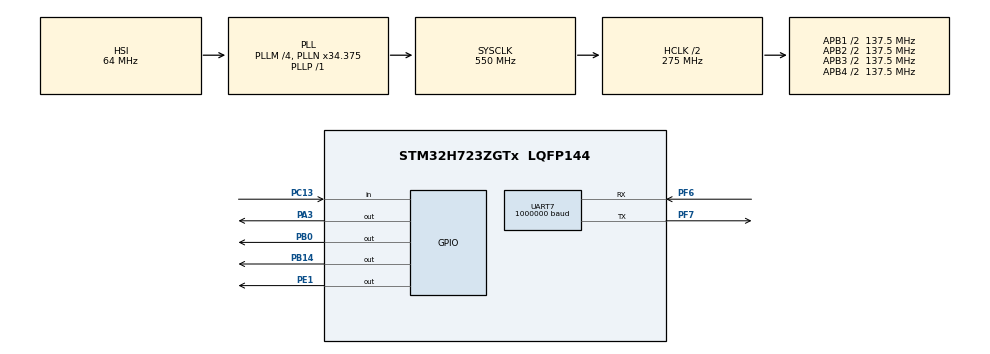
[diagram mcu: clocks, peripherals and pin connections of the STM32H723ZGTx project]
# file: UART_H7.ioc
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CORTEX_M7.default_mode_Activation=1
Mcu.Family=STM32H7
Mcu.Name=STM32H723ZGTx
Mcu.Package=LQFP144
NUCLEO-H723ZG.BUTTON=1
NUCLEO-H723ZG.LD1=true
NUCLEO-H723ZG.LD2=true
NUCLEO-H723ZG.LD3=true
NUCLEO-H723ZG.VCP=true
NVIC.EXTI15_10_IRQn=true\:0\:0\:false\:false\:true\:false\:true\:true
NVIC.PriorityGroup=NVIC_PRIORITYGROUP_4
PA13(JTMS/SWDIO).GPIO_Label=SWDIO
PA13(JTMS/SWDIO).Signal=DEBUG_JTMS-SWDIO
PA14(JTCK/SWCLK).GPIO_Label=SWCLK
PA14(JTCK/SWCLK).Signal=DEBUG_JTCK-SWCLK
PA3.Signal=GPIO_Output
PB0.Signal=GPIO_Output
PB14.Signal=GPIO_Output
PC13.Signal=GPIO_Input
PC14-OSC32_IN.Signal=RCC_OSC32_IN
PC15-OSC32_OUT.Signal=RCC_OSC32_OUT
PD8.Signal=USART3_TX
PD9.Signal=USART3_RX
PE1.Signal=GPIO_Output
PF6.Mode=Asynchronous
PF6.Signal=UART7_RX
PF7.Mode=Asynchronous
PF7.Signal=UART7_TX
ProjectManager.HeapSize=0x200
ProjectManager.StackSize=0x400
ProjectManager.TargetToolchain=STM32CubeIDE
RCC.ADCFreq_Value=608000000
RCC.APB1Freq_Value=137500000
RCC.APB2Freq_Value=137500000
RCC.APB3Freq_Value=137500000
RCC.APB4Freq_Value=137500000
RCC.CortexFreq_Value=550000000
RCC.D1PPRE=RCC_APB3_DIV2
RCC.D2PPRE1=RCC_APB1_DIV2
RCC.D2PPRE2=RCC_APB2_DIV2
RCC.D3PPRE=RCC_APB4_DIV2
RCC.DIVM1=4
RCC.DIVM2=1
RCC.DIVN1=34
RCC.DIVN2=19
RCC.DIVP1=1
RCC.DIVQ1=4
RCC.HCLKFreq_Value=275000000
RCC.HPRE=RCC_HCLK_DIV2
RCC.HSE_VALUE=8000000
RCC.PLLFRACN=3072
RCC.SYSCLKFreq_VALUE=550000000
RCC.SYSCLKSource=RCC_SYSCLKSOURCE_PLLCLK
RCC.USBCLockSelection=RCC_USBCLKSOURCE_HSI48
RCC.USBFreq_Value=48000000
UART7.BaudRate=1000000
VP_MEMORYMAP_VS_MEMORYMAP.Mode=CurAppReg
VP_NUCLEO-H723ZG_VS_BSP_COMMON.Mode=COMMON
board=NUCLEO-H723ZG

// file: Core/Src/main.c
/* USER CODE BEGIN Header */
/**
  ******************************************************************************
  * @file           : main.c
  * @brief          : Main program body
  ******************************************************************************
  * @attention
  *
  * Copyright (c) 2025 STMicroelectronics.
  * All rights reserved.
  *
  * This software is licensed under terms that can be found in the LICENSE file
  * in the root directory of this software component.
  * If no LICENSE file comes with this software, it is provided AS-IS.
  *
  ******************************************************************************
  */
/* USER CODE END Header */
#include "main.h"

/* USER CODE BEGIN Includes */
#include "AX12.h"
/* USER CODE END Includes */

COM_InitTypeDef BspCOMInit;

UART_HandleTypeDef huart7;

/* USER CODE BEGIN PV */

AX12_Handle_TypeDef ax12;
uint16_t current_pos = 0;
uint8_t current_temp = 0;
int read_status = 0;

/* USER CODE END PV */

void SystemClock_Config(void);
static void MPU_Config(void);
static void MX_GPIO_Init(void);
static void MX_UART7_Init(void);

int main(void)
{

  /* MPU Configuration--------------------------------------------------------*/
  MPU_Config();

  /* MCU Configuration--------------------------------------------------------*/

  /* Reset of all peripherals, Initializes the Flash interface and the Systick. */
  HAL_Init();

  /* Configure the system clock */
  SystemClock_Config();

  /* Initialize all configured peripherals */
  MX_GPIO_Init();
  MX_UART7_Init();
  /* USER CODE BEGIN 2 */
  // 1. Initialize the library object
  HAL_Delay(1000);

  // Initialize motor handle (UART7, PA3, ID 1)
  AX12_Init(&ax12, &huart7, GPIOA, GPIO_PIN_3, 0x01);

  // Enable Torque (The motor must be enabled to move)
  AX12_TorqueEnable(&ax12, 1);
  HAL_Delay(50);

  // Set Speed (Test a value other than the max/default)
  AX12_SetMovingSpeed(&ax12, 150); // Setting to 150 (out of 1023)
  HAL_Delay(50);
  /* USER CODE END 2 */

  /* Infinite loop */
  /* USER CODE BEGIN WHILE */
  while (1)
  {
	  // --- Phase 1: Move to 0 (CCW Limit) ---
	      AX12_SetGoalPosition(&ax12, 0);
	      HAL_Delay(1000); // Wait for the motor to reach position

	      // Read and verify position
	      read_status = AX12_GetPresentPosition(&ax12, &current_pos);

	      // --- Phase 2: Move to Center (512) ---
	      AX12_SetGoalPosition(&ax12, 512);
	      HAL_Delay(1000);

	      // Read and verify position
	      read_status = AX12_GetPresentPosition(&ax12, &current_pos);

	      // --- Phase 3: Move to 1023 (CW Limit) ---
	      AX12_SetGoalPosition(&ax12, 1023);
	      HAL_Delay(1000);

	      // Read and verify position
	      read_status = AX12_GetPresentPosition(&ax12, &current_pos);

	      // --- Phase 4: Read Temperature (Test single-byte read) ---
	      AX12_GetPresentTemperature(&ax12, &current_temp);

	      HAL_Delay(1000);
    /* USER CODE END WHILE */

  }
}

void SystemClock_Config(void)
{
  RCC_OscInitTypeDef RCC_OscInitStruct = {0};
  RCC_ClkInitTypeDef RCC_ClkInitStruct = {0};

  /** Supply configuration update enable
  */
  HAL_PWREx_ConfigSupply(PWR_LDO_SUPPLY);

  /** Configure the main internal regulator output voltage
  */
  __HAL_PWR_VOLTAGESCALING_CONFIG(PWR_REGULATOR_VOLTAGE_SCALE0);

  while(!__HAL_PWR_GET_FLAG(PWR_FLAG_VOSRDY)) {}

  /** Initializes the RCC Oscillators according to the specified parameters
  * in the RCC_OscInitTypeDef structure.
  */
  RCC_OscInitStruct.OscillatorType = RCC_OSCILLATORTYPE_HSI;
  RCC_OscInitStruct.HSIState = RCC_HSI_DIV1;
  RCC_OscInitStruct.HSICalibrationValue = 64;
  RCC_OscInitStruct.PLL.PLLState = RCC_PLL_ON;
  RCC_OscInitStruct.PLL.PLLSource = RCC_PLLSOURCE_HSI;
  RCC_OscInitStruct.PLL.PLLM = 4;
  RCC_OscInitStruct.PLL.PLLN = 34;
  RCC_OscInitStruct.PLL.PLLP = 1;
  RCC_OscInitStruct.PLL.PLLQ = 4;
  RCC_OscInitStruct.PLL.PLLR = 2;
  RCC_OscInitStruct.PLL.PLLRGE = RCC_PLL1VCIRANGE_3;
  RCC_OscInitStruct.PLL.PLLVCOSEL = RCC_PLL1VCOWIDE;
  RCC_OscInitStruct.PLL.PLLFRACN = 3072;
  if (HAL_RCC_OscConfig(&RCC_OscInitStruct) != HAL_OK)
  {
    Error_Handler();
  }

  /** Initializes the CPU, AHB and APB buses clocks
  */
  RCC_ClkInitStruct.ClockType = RCC_CLOCKTYPE_HCLK|RCC_CLOCKTYPE_SYSCLK
                              |RCC_CLOCKTYPE_PCLK1|RCC_CLOCKTYPE_PCLK2
                              |RCC_CLOCKTYPE_D3PCLK1|RCC_CLOCKTYPE_D1PCLK1;
  RCC_ClkInitStruct.SYSCLKSource = RCC_SYSCLKSOURCE_PLLCLK;
  RCC_ClkInitStruct.SYSCLKDivider = RCC_SYSCLK_DIV1;
  RCC_ClkInitStruct.AHBCLKDivider = RCC_HCLK_DIV2;
  RCC_ClkInitStruct.APB3CLKDivider = RCC_APB3_DIV2;
  RCC_ClkInitStruct.APB1CLKDivider = RCC_APB1_DIV2;
  RCC_ClkInitStruct.APB2CLKDivider = RCC_APB2_DIV2;
  RCC_ClkInitStruct.APB4CLKDivider = RCC_APB4_DIV2;

  if (HAL_RCC_ClockConfig(&RCC_ClkInitStruct, FLASH_LATENCY_3) != HAL_OK)
  {
    Error_Handler();
  }
}

static void MX_UART7_Init(void)
{

  huart7.Instance = UART7;
  huart7.Init.BaudRate = 1000000;
  huart7.Init.WordLength = UART_WORDLENGTH_8B;
  huart7.Init.StopBits = UART_STOPBITS_1;
  huart7.Init.Parity = UART_PARITY_NONE;
  huart7.Init.Mode = UART_MODE_TX_RX;
  huart7.Init.HwFlowCtl = UART_HWCONTROL_NONE;
  huart7.Init.OverSampling = UART_OVERSAMPLING_16;
  huart7.Init.OneBitSampling = UART_ONE_BIT_SAMPLE_DISABLE;
  huart7.Init.ClockPrescaler = UART_PRESCALER_DIV1;
  huart7.AdvancedInit.AdvFeatureInit = UART_ADVFEATURE_NO_INIT;
  if (HAL_UART_Init(&huart7) != HAL_OK)
  {
    Error_Handler();
  }
  if (HAL_UARTEx_SetTxFifoThreshold(&huart7, UART_TXFIFO_THRESHOLD_1_8) != HAL_OK)
  {
    Error_Handler();
  }
  if (HAL_UARTEx_SetRxFifoThreshold(&huart7, UART_RXFIFO_THRESHOLD_1_8) != HAL_OK)
  {
    Error_Handler();
  }
  if (HAL_UARTEx_DisableFifoMode(&huart7) != HAL_OK)
  {
    Error_Handler();
  }

}

static void MX_GPIO_Init(void)
{
  GPIO_InitTypeDef GPIO_InitStruct = {0};

  /* GPIO Ports Clock Enable */
  __HAL_RCC_GPIOC_CLK_ENABLE();
  __HAL_RCC_GPIOF_CLK_ENABLE();
  __HAL_RCC_GPIOA_CLK_ENABLE();

  /*Configure GPIO pin Output Level */
  HAL_GPIO_WritePin(GPIOA, GPIO_PIN_3, GPIO_PIN_RESET);

  /*Configure GPIO pin : PA3 */
  GPIO_InitStruct.Pin = GPIO_PIN_3;
  GPIO_InitStruct.Mode = GPIO_MODE_OUTPUT_PP;
  GPIO_InitStruct.Pull = GPIO_NOPULL;
  GPIO_InitStruct.Speed = GPIO_SPEED_FREQ_LOW;
  HAL_GPIO_Init(GPIOA, &GPIO_InitStruct);

}

 /* MPU Configuration */

void MPU_Config(void)
{
  MPU_Region_InitTypeDef MPU_InitStruct = {0};

  /* Disables the MPU */
  HAL_MPU_Disable();

  /** Initializes and configures the Region and the memory to be protected
  */
  MPU_InitStruct.Enable = MPU_REGION_ENABLE;
  MPU_InitStruct.Number = MPU_REGION_NUMBER0;
  MPU_InitStruct.BaseAddress = 0x0;
  MPU_InitStruct.Size = MPU_REGION_SIZE_4GB;
  MPU_InitStruct.SubRegionDisable = 0x87;
  MPU_InitStruct.TypeExtField = MPU_TEX_LEVEL0;
  MPU_InitStruct.AccessPermission = MPU_REGION_NO_ACCESS;
  MPU_InitStruct.DisableExec = MPU_INSTRUCTION_ACCESS_DISABLE;
  MPU_InitStruct.IsShareable = MPU_ACCESS_SHAREABLE;
  MPU_InitStruct.IsCacheable = MPU_ACCESS_NOT_CACHEABLE;
  MPU_InitStruct.IsBufferable = MPU_ACCESS_NOT_BUFFERABLE;

  HAL_MPU_ConfigRegion(&MPU_InitStruct);
  /* Enables the MPU */
  HAL_MPU_Enable(MPU_PRIVILEGED_DEFAULT);

}

void Error_Handler(void)
{
  __disable_irq();
  while (1)
  {
  }
}
